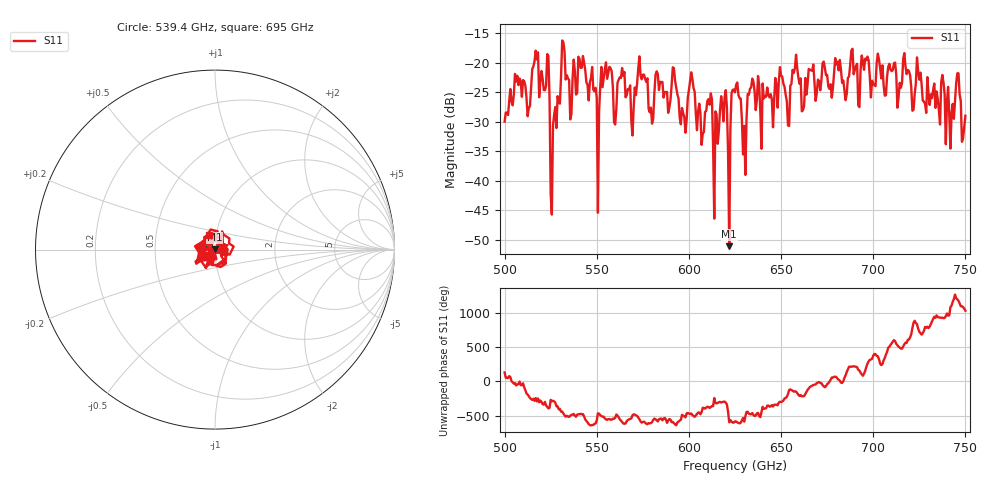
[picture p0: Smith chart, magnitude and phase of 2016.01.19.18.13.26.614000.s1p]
!Created with skrf (http://scikit-rf.org).
# GHz S RI R 50.0
!freq ReS11 ImS11
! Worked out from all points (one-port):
!   401 points, 500 GHz to 750 GHz, reference 50 ohm
!   lowest |S11| = -51.1 dB at 621.9 GHz (marker M1), VSWR 1.01, Z = 49.8 + j0.229 ohm
!   |S11| at or under -10 dB: start of sweep to end of sweep
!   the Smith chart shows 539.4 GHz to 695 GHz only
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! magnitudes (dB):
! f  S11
! 500 GHz  -30.0
! 506.9 GHz  -22.2
! 513.1 GHz  -27.7
! 516.9 GHz  -18.0
! 523.1 GHz  -18.6
! 526.2 GHz  -30.7
! 531.2 GHz  -16.3
! 535.6 GHz  -29.6
! 541.9 GHz  -20.9
! 550 GHz  -26.0
! 553.8 GHz  -22.6
! 560 GHz  -30.5
! 562.5 GHz  -22.5
! 593.8 GHz  -25.4
! 611.2 GHz  -27.1
! 614.4 GHz  -28.3
! 618.8 GHz  -30.0
! 621.9 GHz  -51.1
! 625 GHz  -25.1
! 630 GHz  -30.7
! 633.8 GHz  -24.2
! 653.8 GHz  -30.7
! 656.2 GHz  -21.3
! 687.5 GHz  -20.4
! 718.8 GHz  -21.3
! 740.6 GHz  -24.1
! 746.2 GHz  -21.8
! 750 GHz  -29.0
